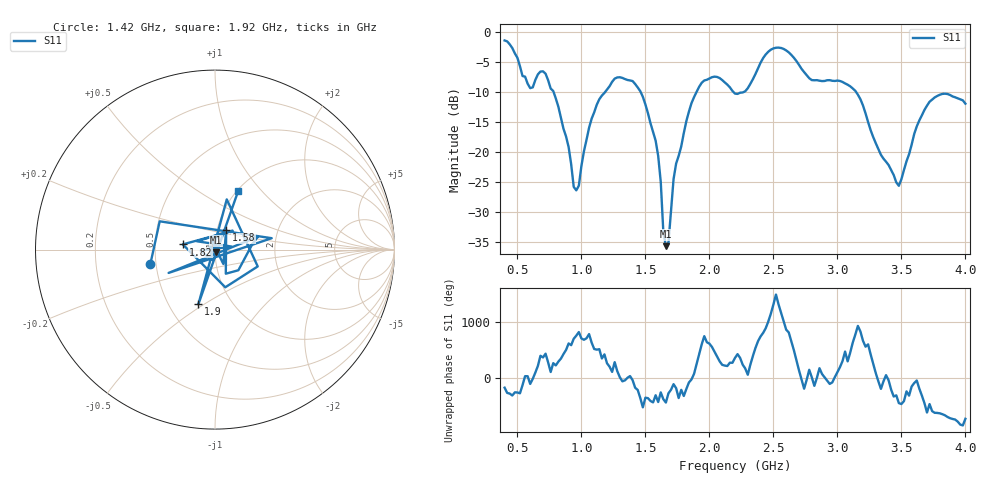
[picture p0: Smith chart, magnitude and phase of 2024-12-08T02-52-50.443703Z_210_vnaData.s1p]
!Created with skrf (http://scikit-rf.org).
# Hz S RI R 50.0
!freq ReS11 ImS11
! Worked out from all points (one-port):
!   181 points, 400 MHz to 4 GHz, reference 50 ohm
!   lowest |S11| = -35.7 dB at 1.66 GHz (marker M1), VSWR 1.03, Z = 50.6 - j1.55 ohm
!   |S11| at or under -10 dB: 783 MHz to 1.185 GHz (401.5 MHz wide, 40.8 % of centre); 1.463 GHz to 1.899 GHz (435.3 MHz wide, 25.9 % of centre); 3.147 GHz to end of sweep (the widest 3 of 4)
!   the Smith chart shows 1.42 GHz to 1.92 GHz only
!   S11 on the Smith chart (normalised r, x): 1.42 GHz: 0.46, -0.09; 1.58 GHz: 1.10, +0.24; 1.82 GHz: 0.70, +0.04; 1.9 GHz: 0.70, -0.47; 1.92 GHz: 1.01, +0.75
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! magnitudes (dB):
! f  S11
! 400 MHz  -1.4
! 600 MHz  -9.3
! 720 MHz  -6.9
! 860 MHz  -16.1
! 960 MHz  -26.4
! 1.12 GHz  -12.1
! 1.3 GHz  -7.5
! 1.42 GHz  -8.6
! 1.58 GHz  -18.1
! 1.62 GHz  -25.0
! 1.64 GHz  -33.2
! 1.66 GHz  -35.7
! 1.68 GHz  -35.1
! 1.72 GHz  -24.5
! 1.76 GHz  -20.6
! 1.82 GHz  -14.8
! 1.9 GHz  -9.9
! 1.92 GHz  -9.1
! 2.06 GHz  -7.5
! 2.2 GHz  -10.2
! 2.48 GHz  -2.9
! 2.66 GHz  -4.3
! 2.8 GHz  -8.0
! 3.1 GHz  -9.0
! 3.48 GHz  -25.6
! 3.56 GHz  -20.3
! 3.72 GHz  -11.6
! 4 GHz  -11.9
